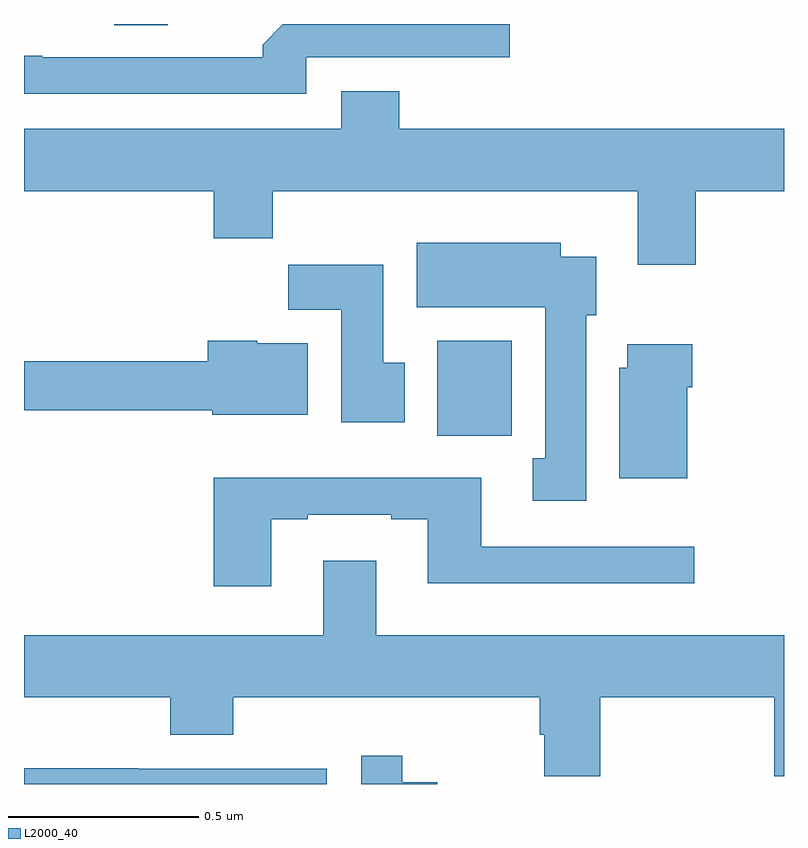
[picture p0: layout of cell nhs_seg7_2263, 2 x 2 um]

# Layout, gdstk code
import gdstk
lib = gdstk.Library(unit=1e-6, precision=1e-09)
def R(c, l, rs):  # rectangles x0, y0, x1, y1
    for r in rs: c.add(gdstk.rectangle(r[:2], r[2:], *l))
def P(c, l, *ps):  # polygons
    for p in ps: c.add(gdstk.Polygon(p, *l))
L2000_40 = (2000, 40)

nhs_seg7_2263 = lib.new_cell('nhs_seg7_2263')
R(nhs_seg7_2263, L2000_40, [(143.087,1055.916,143.283,1056.166), (142.238,1056.997,142.378,1057)])
P(nhs_seg7_2263, L2000_40, [(142.743,1056.912),(143.278,1056.912),(143.278,1057),(142.681,1057),(142.628,1056.946),(142.628,1056.912),(142.048,1056.912),(142.048,1056.917),(142,1056.917),(142,1056.816),(142.743,1056.816)],
  [(142.835,1056.823),(142.835,1056.724),(142,1056.724),(142,1056.56),(142.499,1056.56),(142.499,1056.436),(142.655,1056.436),(142.655,1056.56),(143.615,1056.56),(143.615,1056.366),(143.768,1056.366),(143.768,1056.56),(144,1056.56),(144,1056.724),(142.988,1056.724),(142.988,1056.823)],
  [(143.479,1056.234),(143.506,1056.234),(143.506,1056.388),(143.413,1056.388),(143.413,1056.424),(143.033,1056.424),(143.033,1056.254),(143.372,1056.254),(143.372,1055.857),(143.339,1055.857),(143.339,1055.745),(143.479,1055.745)],
  [(143.002,1056.108),(142.945,1056.108),(142.945,1056.366),(142.696,1056.366),(142.696,1056.248),(142.835,1056.248),(142.835,1055.952),(143.002,1055.952)],
  [(142.747,1056.16),(142.614,1056.16),(142.614,1056.166),(142.484,1056.166),(142.484,1056.112),(142,1056.112),(142,1055.983),(142.496,1055.983),(142.496,1055.972),(142.747,1055.972)],
  [(143.746,1056.044),(143.759,1056.044),(143.759,1056.157),(143.588,1056.157),(143.588,1056.096),(143.567,1056.096),(143.567,1055.804),(143.746,1055.804)],
  [(142.651,1055.697),(142.747,1055.697),(142.747,1055.709),(142.967,1055.709),(142.967,1055.697),(143.063,1055.697),(143.063,1055.528),(143.764,1055.528),(143.764,1055.625),(143.203,1055.625),(143.203,1055.806),(142.499,1055.806),(142.499,1055.52),(142.651,1055.52)],
  [(143.517,1055.228),(143.974,1055.228),(143.974,1055.02),(144,1055.02),(144,1055.392),(142.927,1055.392),(142.927,1055.587),(142.787,1055.587),(142.787,1055.392),(142,1055.392),(142,1055.228),(142.385,1055.228),(142.385,1055.129),(142.55,1055.129),(142.55,1055.228),(143.357,1055.228),(143.357,1055.13),(143.369,1055.13),(143.369,1055.02),(143.517,1055.02)],
  [(143.088,1055.004),(142.996,1055.004),(142.996,1055.074),(142.887,1055.074),(142.887,1055),(143.088,1055)],
  [(142.797,1055.04),(142.301,1055.04),(142.301,1055.042),(142,1055.042),(142,1055),(142.797,1055)])

lib.write_gds('nhs_seg7_2263.gds')
